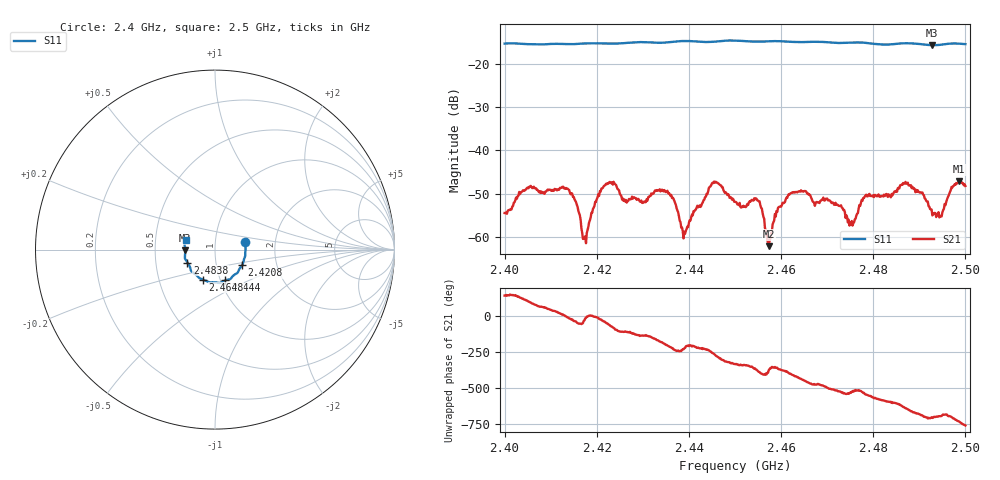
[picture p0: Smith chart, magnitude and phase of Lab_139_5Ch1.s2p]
# Hz S RI R 50
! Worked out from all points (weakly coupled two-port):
!   601 points, 2.4 GHz to 2.5 GHz, reference 50 ohm
!   highest |S21| = -47.16 dB at 2.4987 GHz (marker M1); lowest = -62.2 dB at 2.4573 GHz (marker M2)
!   lowest |S11| = -15.6 dB at 2.4928 GHz (marker M3), VSWR 1.40, Z = 35.8 - j0.348 ohm
!   |S11| at or under -10 dB: start of sweep to end of sweep
!   S12 and S22 are empty: the file has one direction only
!   S11 on the Smith chart (normalised r, x): 2.4 GHz: 1.40, +0.12; 2.4208 GHz: 1.33, -0.24; 2.444 GHz: 1.06, -0.37; 2.4648 GHz: 0.83, -0.29; 2.4838 GHz: 0.73, -0.11; 2.5 GHz: 0.72, +0.08
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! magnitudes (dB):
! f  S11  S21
! 2.4 GHz  -15.2  -54.5
! 2.413 GHz  -15.3  -48.7
! 2.4167 GHz  -15.2  -58.1
! 2.4175 GHz  -15.2  -59.9
! 2.4208 GHz  -15.2  -49.6
! 2.4333 GHz  -15.0  -49.2
! 2.439 GHz  -14.6  -58.9
! 2.444 GHz  -14.9  -50.1
! 2.45 GHz  -14.5  -51.9
! 2.455 GHz  -14.8  -51.6
! 2.4573 GHz  -14.7  -62.2
! 2.4598 GHz  -14.7  -53.0
! 2.4648 GHz  -14.9  -49.6
! 2.4667 GHz  -14.8  -51.3
! 2.4753 GHz  -15.0  -56.4
! 2.478 GHz  -15.0  -51.0
! 2.4833 GHz  -15.5  -50.2
! 2.4838 GHz  -15.4  -50.9
! 2.4875 GHz  -15.2  -47.5
! 2.4928 GHz  -15.6  -55.1
! 2.4987 GHz  -15.3  -47.2
! 2.5 GHz  -15.4  -48.2
